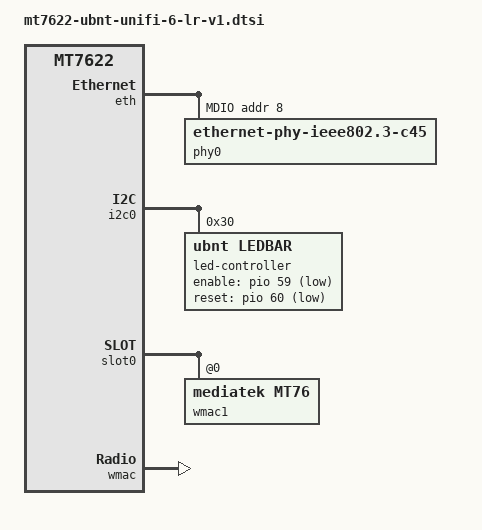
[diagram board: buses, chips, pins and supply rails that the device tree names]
#include "mt7622-ubnt-unifi-6-lr.dtsi"

&eth {
	status = "okay";
	pinctrl-names = "default";
	pinctrl-0 = <&eth_pins>;

	gmac0: mac@0 {
		compatible = "mediatek,eth-mac";
		reg = <0>;

		phy-mode = "2500base-x";
		phy-handle = <&phy0>;
		phy-connection-type = "2500base-x";
	};

	mdio: mdio-bus {
		#address-cells = <1>;
		#size-cells = <0>;

		phy0: ethernet-phy@8 {
			compatible = "ethernet-phy-ieee802.3-c45";
			reg = <0x8>;
		};
	};
};

&i2c0 {
	pinctrl-names = "default";
	pinctrl-0 = <&i2c0_pins>;
	status = "okay";

	led-controller@30 {
		compatible = "ubnt,ledbar";
		reg = <0x30>;

		enable-gpios = <&pio 59 GPIO_ACTIVE_LOW>;
		reset-gpios = <&pio 60 GPIO_ACTIVE_LOW>;

		red {
			label = "red";
		};

		green {
			label = "green";
		};

		led_blue: blue {
			label = "blue";
		};
	};
};

&gmac0 {
	nvmem-cells = <&macaddr_eeprom_0>;
	nvmem-cell-names = "mac-address";
};

&slot0 {
	wmac1: wifi@0,0 {
		compatible = "mediatek,mt76";
		reg = <0x0 0 0 0 0>;
	};
};

&wmac {
	nvmem-cells = <&eeprom_factory_0>, <&macaddr_eeprom_0>;
	nvmem-cell-names = "eeprom", "mac-address";
	status = "okay";
};

&wmac1 {
	nvmem-cells = <&eeprom_factory_20000>, <&macaddr_eeprom_6>;
	nvmem-cell-names = "eeprom", "mac-address";
	ieee80211-freq-limit = <5000000 6000000>;
};
